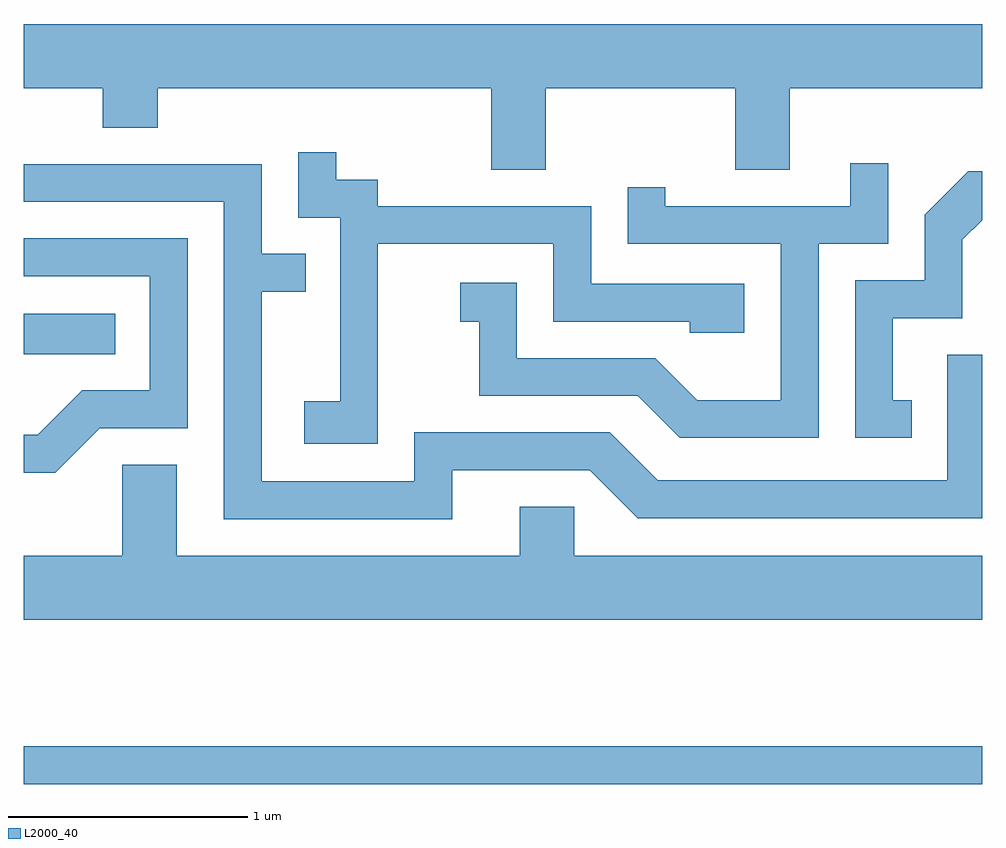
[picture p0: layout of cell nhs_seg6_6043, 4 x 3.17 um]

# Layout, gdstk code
import gdstk
lib = gdstk.Library(unit=1e-6, precision=1e-09)
def R(c, l, rs):  # rectangles x0, y0, x1, y1
    for r in rs: c.add(gdstk.rectangle(r[:2], r[2:], *l))
def P(c, l, *ps):  # polygons
    for p in ps: c.add(gdstk.Polygon(p, *l))
L2000_40 = (2000, 40)

nhs_seg6_6043 = lib.new_cell('nhs_seg6_6043')
R(nhs_seg6_6043, L2000_40, [(367.611,1662.571,371.611,1662.729), (367.611,1664.366,367.993,1664.534)])
P(nhs_seg6_6043, L2000_40, [(369.789,1665.476),(370.581,1665.476),(370.581,1665.136),(370.809,1665.136),(370.809,1665.476),(371.611,1665.476),(371.611,1665.744),(367.611,1665.744),(367.611,1665.476),(367.941,1665.476),(367.941,1665.311),(368.169,1665.311),(368.169,1665.476),(369.561,1665.476),(369.561,1665.136),(369.789,1665.136)],
  [(369.089,1664.826),(369.821,1664.826),(369.821,1664.501),(370.391,1664.501),(370.391,1664.456),(370.619,1664.456),(370.619,1664.659),(369.979,1664.659),(369.979,1664.984),(369.089,1664.984),(369.089,1665.094),(368.914,1665.094),(368.914,1665.208),(368.756,1665.208),(368.756,1664.936),(368.931,1664.936),(368.931,1664.169),(368.781,1664.169),(368.781,1663.991),(369.089,1663.991)],
  [(370.929,1664.826),(371.219,1664.826),(371.219,1665.163),(371.061,1665.163),(371.061,1664.984),(370.289,1664.984),(370.289,1665.063),(370.131,1665.063),(370.131,1664.826),(370.771,1664.826),(370.771,1664.174),(370.422,1664.174),(370.247,1664.349),(369.669,1664.349),(369.669,1664.664),(369.433,1664.664),(369.433,1664.501),(369.511,1664.501),(369.511,1664.191),(370.174,1664.191),(370.349,1664.016),(370.929,1664.016)],
  [(369.399,1663.881),(369.974,1663.881),(370.174,1663.681),(371.611,1663.681),(371.611,1664.364),(371.466,1664.364),(371.466,1663.839),(370.257,1663.839),(370.057,1664.039),(369.241,1664.039),(369.241,1663.834),(368.604,1663.834),(368.604,1664.626),(368.788,1664.626),(368.788,1664.784),(368.604,1664.784),(368.604,1665.159),(367.611,1665.159),(367.611,1665.001),(368.446,1665.001),(368.446,1663.676),(369.399,1663.676)],
  [(371.318,1664.174),(371.239,1664.174),(371.239,1664.516),(371.529,1664.516),(371.529,1664.844),(371.611,1664.925),(371.611,1665.129),(371.554,1665.129),(371.371,1664.947),(371.371,1664.674),(371.081,1664.674),(371.081,1664.016),(371.318,1664.016)],
  [(367.927,1664.056),(368.294,1664.056),(368.294,1664.849),(367.611,1664.849),(367.611,1664.691),(368.136,1664.691),(368.136,1664.214),(367.854,1664.214),(367.669,1664.029),(367.611,1664.029),(367.611,1663.871),(367.742,1663.871)],
  [(371.611,1663.524),(369.909,1663.524),(369.909,1663.729),(369.681,1663.729),(369.681,1663.524),(368.249,1663.524),(368.249,1663.904),(368.021,1663.904),(368.021,1663.524),(367.611,1663.524),(367.611,1663.256),(371.611,1663.256)])

lib.write_gds('nhs_seg6_6043.gds')
